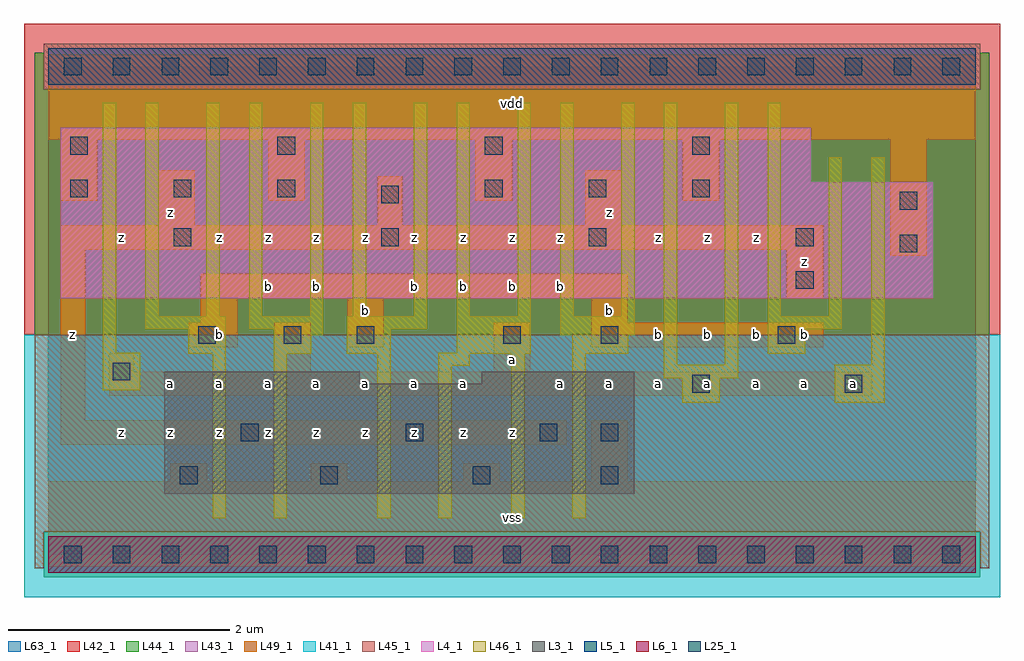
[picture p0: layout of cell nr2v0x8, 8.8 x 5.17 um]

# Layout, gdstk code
import gdstk
lib = gdstk.Library(unit=1e-6, precision=1e-09)
def R(c, l, rs):  # rectangles x0, y0, x1, y1
    for r in rs: c.add(gdstk.rectangle(r[:2], r[2:], *l))
def A(c, l, x, y, w, h, nx, ny, dx, dy):  # array of equal rectangles
    R(c, l, [(x+i*dx, y+j*dy, x+i*dx+w, y+j*dy+h) for i in range(nx) for j in range(ny)])
L3_1 = (3, 1)
L4_1 = (4, 1)
L5_1 = (5, 1)
L6_1 = (6, 1)
L25_1 = (25, 1)
L41_1 = (41, 1)
L42_1 = (42, 1)
L43_1 = (43, 1)
L44_1 = (44, 1)
L45_1 = (45, 1)
L46_1 = (46, 1)
L49_1 = (49, 1)
L63_1 = (63, 1)

nr2v0x8 = lib.new_cell('nr2v0x8')
R(nr2v0x8, L3_1, [(1.045,0.55,5.28,1.54), (1.045,1.54,2.805,1.65), (3.905,1.54,5.28,1.65)])
R(nr2v0x8, L4_1, [(0.11,2.31,7.975,3.355), (0.11,3.355,6.875,3.85)])
R(nr2v0x8, L5_1, [(0,4.235,8.36,4.565)])
R(nr2v0x8, L6_1, [(0,-0.165,8.36,0.165)])
A(nr2v0x8, L25_1, 0.14, -0.08, 0.16, 0.16, 19, 2, 0.44, 4.4)
A(nr2v0x8, L25_1, 1.13, 2.78, 0.16, 0.16, 4, 1, 1.87, 0)
A(nr2v0x8, L25_1, 0.195, 3.22, 0.16, 0.16, 3, 1, 0.935, 0)
A(nr2v0x8, L25_1, 3.935, 3.22, 0.16, 0.16, 3, 1, 0.935, 0)
A(nr2v0x8, L25_1, 0.195, 3.605, 0.16, 0.16, 4, 1, 1.87, 0)
R(nr2v0x8, L25_1, [(1.185,0.635,1.345,0.795), (2.45,0.635,2.61,0.795), (3.825,0.635,3.985,0.795), (4.98,0.635,5.14,0.795), (1.735,1.02,1.895,1.18), (3.22,1.02,3.38,1.18), (4.43,1.02,4.59,1.18), (4.98,1.02,5.14,1.18), (5.805,1.46,5.965,1.62), (7.18,1.46,7.34,1.62), (0.58,1.57,0.74,1.73), (1.35,1.9,1.51,2.06), (2.12,1.9,2.28,2.06), (2.78,1.9,2.94,2.06), (4.1,1.9,4.26,2.06), (4.98,1.9,5.14,2.06), (6.575,1.9,6.735,2.06), (6.74,2.395,6.9,2.555), (7.675,2.725,7.835,2.885), (7.675,3.11,7.835,3.27), (3,3.165,3.16,3.325)])
R(nr2v0x8, L41_1, [(-0.22,-0.385,8.58,1.98)])
R(nr2v0x8, L42_1, [(-0.22,1.98,8.58,4.785)])
R(nr2v0x8, L43_1, [(0,-0.165,8.36,0.165), (1.045,0.55,5.28,1.54), (1.045,1.54,2.805,1.65), (3.905,1.54,5.28,1.65), (0.11,2.31,7.975,3.355), (0.11,3.355,6.875,3.85), (0,4.235,8.36,4.565)])
R(nr2v0x8, L44_1, [(-0.04,-0.205,8.4,0.205), (-0.125,1.98,8.485,4.195), (-0.125,4.195,-0.04,4.525), (8.4,4.195,8.485,4.525)])
R(nr2v0x8, L45_1, [(-0.125,-0.125,-0.04,0.205), (8.4,-0.125,8.485,0.205), (-0.125,0.205,8.485,1.98), (-0.04,4.195,8.4,4.605)])
R(nr2v0x8, L46_1, [(1.48,0.325,1.6,1.81), (2.03,0.325,2.15,1.81), (2.965,0.325,3.085,1.81), (3.515,0.325,3.635,1.7), (4.175,0.325,4.295,1.81), (4.725,0.325,4.845,1.81), (5.715,1.37,6.055,1.59), (7.09,1.37,7.54,1.71), (0.49,1.48,0.83,1.82), (5.55,1.59,6.22,1.71), (3.515,1.7,3.8,1.81), (5.55,1.71,5.67,4.075), (6.1,1.71,6.22,4.075), (7.42,1.71,7.54,3.58), (1.26,1.81,1.6,2.03), (2.03,1.81,2.37,1.975), (2.69,1.81,3.085,2.03), (3.515,1.81,4.35,1.82), (4.725,1.81,5.23,1.975), (6.485,1.81,6.825,2.03), (0.49,1.82,0.61,4.075), (3.68,1.82,4.35,2.15), (2.03,1.975,2.48,2.03), (4.615,1.975,5.285,2.15), (0.875,2.03,1.6,2.15), (1.81,2.03,2.48,2.15), (2.69,2.03,3.415,2.15), (6.485,2.03,7.155,2.15), (0.875,2.15,0.995,4.075), (1.425,2.15,1.545,4.075), (1.81,2.15,1.93,4.075), (2.36,2.15,2.48,4.075), (2.745,2.15,2.865,4.075), (3.295,2.15,3.415,4.075), (3.68,2.15,3.8,4.075), (4.23,2.15,4.35,4.075), (4.615,2.15,4.735,4.075), (5.165,2.15,5.285,4.075), (6.485,2.15,6.605,4.075), (7.035,2.15,7.155,3.58)])
A(nr2v0x8, L49_1, 0.11, 3.19, 0.33, 0.55, 4, 1, 1.87, 0)
R(nr2v0x8, L49_1, [(0,-0.11,8.36,0.66), (1.1,0.66,1.43,0.825), (2.365,0.66,2.695,0.825), (3.74,0.66,4.07,0.825), (4.895,0.66,5.225,1.21), (0.11,0.99,4.675,1.21), (0.11,1.21,0.33,2.75), (0.55,1.43,7.425,1.65), (0.55,1.65,0.77,1.815), (2.035,1.65,2.365,2.09), (4.015,1.65,4.345,2.09), (1.265,1.87,1.705,2.09), (2.695,1.87,3.025,2.31), (4.895,1.87,6.985,2.09), (1.375,2.09,1.705,2.31), (4.895,2.09,5.225,2.31), (1.375,2.31,5.225,2.53), (6.655,2.31,6.985,2.75), (7.59,2.695,7.92,3.74), (0.11,2.75,6.985,2.97), (0.99,2.97,1.32,3.465), (2.97,2.97,3.19,3.41), (4.84,2.97,5.17,3.465), (0,3.74,8.36,4.51)])
R(nr2v0x8, L63_1, [(0,0,8.36,4.4)])
nr2v0x8.add(gdstk.Label('z', (1.1,1.1), layer=49, texttype=1))
nr2v0x8.add(gdstk.Label('z', (0.66,1.1), layer=49, texttype=1))
nr2v0x8.add(gdstk.Label('a', (1.1,1.54), layer=49, texttype=1))
nr2v0x8.add(gdstk.Label('z', (0.22,1.98), layer=49, texttype=1))
nr2v0x8.add(gdstk.Label('z', (0.66,2.86), layer=49, texttype=1))
nr2v0x8.add(gdstk.Label('z', (1.1,3.08), layer=49, texttype=1))
nr2v0x8.add(gdstk.Label('z', (2.42,1.1), layer=49, texttype=1))
nr2v0x8.add(gdstk.Label('z', (1.98,1.1), layer=49, texttype=1))
nr2v0x8.add(gdstk.Label('z', (1.54,1.1), layer=49, texttype=1))
nr2v0x8.add(gdstk.Label('a', (1.54,1.54), layer=49, texttype=1))
nr2v0x8.add(gdstk.Label('a', (1.98,1.54), layer=49, texttype=1))
nr2v0x8.add(gdstk.Label('a', (2.42,1.54), layer=49, texttype=1))
nr2v0x8.add(gdstk.Label('b', (1.54,1.98), layer=49, texttype=1))
nr2v0x8.add(gdstk.Label('b', (1.98,2.42), layer=49, texttype=1))
nr2v0x8.add(gdstk.Label('b', (2.42,2.42), layer=49, texttype=1))
nr2v0x8.add(gdstk.Label('z', (1.54,2.86), layer=49, texttype=1))
nr2v0x8.add(gdstk.Label('z', (1.98,2.86), layer=49, texttype=1))
nr2v0x8.add(gdstk.Label('z', (2.42,2.86), layer=49, texttype=1))
nr2v0x8.add(gdstk.Label('z', (2.86,1.1), layer=49, texttype=1))
nr2v0x8.add(gdstk.Label('z', (3.74,1.1), layer=49, texttype=1))
nr2v0x8.add(gdstk.Label('z', (3.3,1.1), layer=49, texttype=1))
nr2v0x8.add(gdstk.Label('a', (3.3,1.54), layer=49, texttype=1))
nr2v0x8.add(gdstk.Label('a', (3.74,1.54), layer=49, texttype=1))
nr2v0x8.add(gdstk.Label('a', (2.86,1.54), layer=49, texttype=1))
nr2v0x8.add(gdstk.Label('b', (3.3,2.42), layer=49, texttype=1))
nr2v0x8.add(gdstk.Label('b', (3.74,2.42), layer=49, texttype=1))
nr2v0x8.add(gdstk.Label('b', (2.86,2.2), layer=49, texttype=1))
nr2v0x8.add(gdstk.Label('z', (2.86,2.86), layer=49, texttype=1))
nr2v0x8.add(gdstk.Label('z', (3.3,2.86), layer=49, texttype=1))
nr2v0x8.add(gdstk.Label('z', (3.74,2.86), layer=49, texttype=1))
nr2v0x8.add(gdstk.Label('vss', (4.18,0.33), layer=49, texttype=1))
nr2v0x8.add(gdstk.Label('z', (4.18,1.1), layer=49, texttype=1))
nr2v0x8.add(gdstk.Label('a', (4.62,1.54), layer=49, texttype=1))
nr2v0x8.add(gdstk.Label('a', (5.06,1.54), layer=49, texttype=1))
nr2v0x8.add(gdstk.Label('a', (5.5,1.54), layer=49, texttype=1))
nr2v0x8.add(gdstk.Label('a', (4.18,1.76), layer=49, texttype=1))
nr2v0x8.add(gdstk.Label('b', (5.5,1.98), layer=49, texttype=1))
nr2v0x8.add(gdstk.Label('b', (4.62,2.42), layer=49, texttype=1))
nr2v0x8.add(gdstk.Label('b', (5.06,2.2), layer=49, texttype=1))
nr2v0x8.add(gdstk.Label('b', (4.18,2.42), layer=49, texttype=1))
nr2v0x8.add(gdstk.Label('z', (4.18,2.86), layer=49, texttype=1))
nr2v0x8.add(gdstk.Label('z', (5.5,2.86), layer=49, texttype=1))
nr2v0x8.add(gdstk.Label('z', (4.62,2.86), layer=49, texttype=1))
nr2v0x8.add(gdstk.Label('z', (5.06,3.08), layer=49, texttype=1))
nr2v0x8.add(gdstk.Label('vdd', (4.18,4.07), layer=49, texttype=1))
nr2v0x8.add(gdstk.Label('a', (5.94,1.54), layer=49, texttype=1))
nr2v0x8.add(gdstk.Label('a', (6.38,1.54), layer=49, texttype=1))
nr2v0x8.add(gdstk.Label('a', (6.82,1.54), layer=49, texttype=1))
nr2v0x8.add(gdstk.Label('b', (6.82,1.98), layer=49, texttype=1))
nr2v0x8.add(gdstk.Label('b', (6.38,1.98), layer=49, texttype=1))
nr2v0x8.add(gdstk.Label('b', (5.94,1.98), layer=49, texttype=1))
nr2v0x8.add(gdstk.Label('z', (6.82,2.64), layer=49, texttype=1))
nr2v0x8.add(gdstk.Label('z', (5.94,2.86), layer=49, texttype=1))
nr2v0x8.add(gdstk.Label('z', (6.38,2.86), layer=49, texttype=1))
nr2v0x8.add(gdstk.Label('a', (7.26,1.54), layer=49, texttype=1))

lib.write_gds('nr2v0x8.gds')
